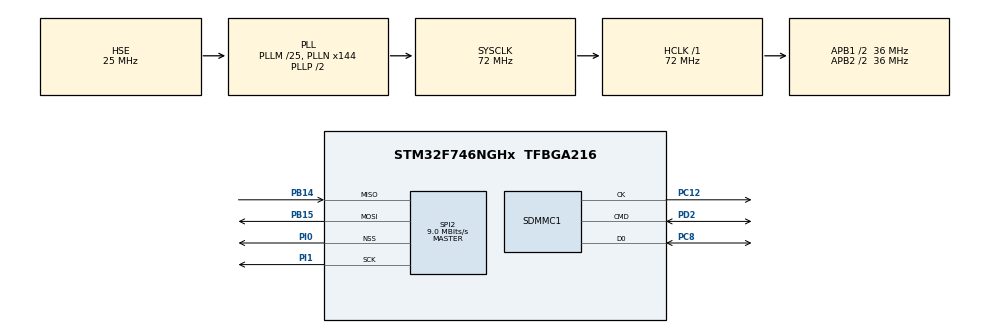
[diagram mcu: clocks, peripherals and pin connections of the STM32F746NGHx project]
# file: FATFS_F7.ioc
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CORTEX_M7.default_mode_Activation=1
Mcu.Family=STM32F7
Mcu.Name=STM32F746NGHx
Mcu.Package=TFBGA216
NVIC.PriorityGroup=NVIC_PRIORITYGROUP_4
PB14.Mode=Full_Duplex_Master
PB14.Signal=SPI2_MISO
PB15.Mode=Full_Duplex_Master
PB15.Signal=SPI2_MOSI
PC12.Mode=SD_1_bit
PC12.Signal=SDMMC1_CK
PC8.Mode=SD_1_bit
PC8.Signal=SDMMC1_D0
PD2.Mode=SD_1_bit
PD2.Signal=SDMMC1_CMD
PH0/OSC_IN.Mode=HSE-External-Clock-Source
PH0/OSC_IN.Signal=RCC_OSC_IN
PH1/OSC_OUT.Mode=HSE-External-Clock-Source
PH1/OSC_OUT.Signal=RCC_OSC_OUT
PI0.Mode=NSS_Signal_Hard_Output
PI0.Signal=SPI2_NSS
PI1.Mode=Full_Duplex_Master
PI1.Signal=SPI2_SCK
ProjectManager.HeapSize=0x200
ProjectManager.StackSize=0x400
ProjectManager.TargetToolchain=STM32CubeIDE
RCC.AHBFreq_Value=72000000
RCC.APB1CLKDivider=RCC_HCLK_DIV2
RCC.APB1Freq_Value=36000000
RCC.APB1TimFreq_Value=72000000
RCC.APB2CLKDivider=RCC_HCLK_DIV2
RCC.APB2Freq_Value=36000000
RCC.APB2TimFreq_Value=72000000
RCC.CortexFreq_Value=72000000
RCC.HCLKFreq_Value=72000000
RCC.HSE_VALUE=25000000
RCC.HSI_VALUE=16000000
RCC.LSE_VALUE=32768
RCC.PLLM=25
RCC.PLLN=144
RCC.PLLQ=3
RCC.PLLSourceVirtual=RCC_PLLSOURCE_HSE
RCC.SDMMCClockSelection=RCC_SDMMC1CLKSOURCE_CLK48
RCC.SYSCLKFreq_VALUE=72000000
RCC.SYSCLKSource=RCC_SYSCLKSOURCE_PLLCLK
RCC.USBFreq_Value=48000000
RCC.VCOOutputFreq_Value=144000000
SPI2.BaudRatePrescaler=SPI_BAUDRATEPRESCALER_4
SPI2.CalculateBaudRate=9.0 MBits/s
SPI2.DataSize=SPI_DATASIZE_8BIT
SPI2.Direction=SPI_DIRECTION_2LINES
SPI2.Mode=SPI_MODE_MASTER
SPI2.VirtualNSS=VM_NSSHARD
SPI2.VirtualType=VM_MASTER
board=custom

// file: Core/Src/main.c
/* USER CODE BEGIN Header */
/**
  ******************************************************************************
  * @file           : main.c
  * @brief          : Main program body
  ******************************************************************************
  * @attention
  *
  * Copyright (c) 2024 STMicroelectronics.
  * All rights reserved.
  *
  * This software is licensed under terms that can be found in the LICENSE file
  * in the root directory of this software component.
  * If no LICENSE file comes with this software, it is provided AS-IS.
  *
  ******************************************************************************
  */
/* USER CODE END Header */
#include "main.h"

/* USER CODE BEGIN Includes */
#include "ff.h"
#include "string.h"
/* USER CODE END Includes */

/* USER CODE BEGIN PD */
#define BUFFER_SIZE 128 * 1024
/* USER CODE END PD */

SD_HandleTypeDef hsd1;

SPI_HandleTypeDef hspi2;

/* USER CODE BEGIN PV */
FRESULT fr = FR_NOT_READY;
FATFS   SDFatFs_main; /* File system object for SD card logical drive */
FIL     MyFile;       /* File object */

char    buffer[BUFFER_SIZE]; // to store strings..
UINT    br, bw;

uint32_t total_size    = 1UL * 1024 * 1024 * 1024; // 1GB
uint32_t bytes_written = 0;

volatile uint32_t time_count = 0;
/* USER CODE END PV */

void SystemClock_Config(void);
static void MPU_Config(void);
static void MX_GPIO_Init(void);
static void MX_SDMMC1_SD_Init(void);
static void MX_SPI2_Init(void);

/* USER CODE BEGIN 0 */
int
bufsize (char *buf)
{
  int i = 0;
  while (*buf++ != '\0')
  {
    i++;
  }
  return i;
}
/* USER CODE END 0 */

int main(void)
{

  /* USER CODE BEGIN 1 */
	memset(buffer, 0xFF, BUFFER_SIZE); // Fill buffer with data
  /* USER CODE END 1 */

  /* MPU Configuration--------------------------------------------------------*/
  MPU_Config();

  /* MCU Configuration--------------------------------------------------------*/

  /* Reset of all peripherals, Initializes the Flash interface and the Systick. */
  HAL_Init();

  /* Configure the system clock */
  SystemClock_Config();

  /* Initialize all configured peripherals */
  MX_GPIO_Init();
  MX_SDMMC1_SD_Init();
  MX_SPI2_Init();
  /* USER CODE BEGIN 2 */
//  if (HAL_SD_Init(&hsd1) != HAL_OK)
//  {
//    Error_Handler();
//  }
//
//  if (HAL_SD_ConfigWideBusOperation(&hsd1, SDMMC_BUS_WIDE_4B) != HAL_OK)
//  {
//    Error_Handler();
//  }

  fr = f_mount(&SDFatFs_main, "", 1);
  fr = f_open(&MyFile, "file3.txt", FA_CREATE_ALWAYS | FA_WRITE);

  /* Writing text */
  while (bytes_written < total_size)
  {
    fr = f_write(&MyFile, buffer, bufsize(buffer), &bw);

    bytes_written += bw;
  }
  f_close(&MyFile);

  /* USER CODE END 2 */

  /* Infinite loop */
  while (1)
  {

  }
}

void SystemClock_Config(void)
{
  RCC_OscInitTypeDef RCC_OscInitStruct = {0};
  RCC_ClkInitTypeDef RCC_ClkInitStruct = {0};

  /** Configure the main internal regulator output voltage
  */
  __HAL_RCC_PWR_CLK_ENABLE();
  __HAL_PWR_VOLTAGESCALING_CONFIG(PWR_REGULATOR_VOLTAGE_SCALE3);

  /** Initializes the RCC Oscillators according to the specified parameters
  * in the RCC_OscInitTypeDef structure.
  */
  RCC_OscInitStruct.OscillatorType = RCC_OSCILLATORTYPE_HSE;
  RCC_OscInitStruct.HSEState = RCC_HSE_BYPASS;
  RCC_OscInitStruct.PLL.PLLState = RCC_PLL_ON;
  RCC_OscInitStruct.PLL.PLLSource = RCC_PLLSOURCE_HSE;
  RCC_OscInitStruct.PLL.PLLM = 25;
  RCC_OscInitStruct.PLL.PLLN = 144;
  RCC_OscInitStruct.PLL.PLLP = RCC_PLLP_DIV2;
  RCC_OscInitStruct.PLL.PLLQ = 3;
  if (HAL_RCC_OscConfig(&RCC_OscInitStruct) != HAL_OK)
  {
    Error_Handler();
  }

  /** Initializes the CPU, AHB and APB buses clocks
  */
  RCC_ClkInitStruct.ClockType = RCC_CLOCKTYPE_HCLK|RCC_CLOCKTYPE_SYSCLK
                              |RCC_CLOCKTYPE_PCLK1|RCC_CLOCKTYPE_PCLK2;
  RCC_ClkInitStruct.SYSCLKSource = RCC_SYSCLKSOURCE_PLLCLK;
  RCC_ClkInitStruct.AHBCLKDivider = RCC_SYSCLK_DIV1;
  RCC_ClkInitStruct.APB1CLKDivider = RCC_HCLK_DIV2;
  RCC_ClkInitStruct.APB2CLKDivider = RCC_HCLK_DIV2;

  if (HAL_RCC_ClockConfig(&RCC_ClkInitStruct, FLASH_LATENCY_2) != HAL_OK)
  {
    Error_Handler();
  }
}

static void MX_SDMMC1_SD_Init(void)
{

  hsd1.Instance = SDMMC1;
  hsd1.Init.ClockEdge = SDMMC_CLOCK_EDGE_RISING;
  hsd1.Init.ClockBypass = SDMMC_CLOCK_BYPASS_DISABLE;
  hsd1.Init.ClockPowerSave = SDMMC_CLOCK_POWER_SAVE_DISABLE;
  hsd1.Init.BusWide = SDMMC_BUS_WIDE_1B;
  hsd1.Init.HardwareFlowControl = SDMMC_HARDWARE_FLOW_CONTROL_DISABLE;
  hsd1.Init.ClockDiv = 0;
  if (HAL_SD_Init(&hsd1) != HAL_OK)
  {
    Error_Handler();
  }

}

static void MX_SPI2_Init(void)
{

  /* SPI2 parameter configuration*/
  hspi2.Instance = SPI2;
  hspi2.Init.Mode = SPI_MODE_MASTER;
  hspi2.Init.Direction = SPI_DIRECTION_2LINES;
  hspi2.Init.DataSize = SPI_DATASIZE_8BIT;
  hspi2.Init.CLKPolarity = SPI_POLARITY_LOW;
  hspi2.Init.CLKPhase = SPI_PHASE_1EDGE;
  hspi2.Init.NSS = SPI_NSS_HARD_OUTPUT;
  hspi2.Init.BaudRatePrescaler = SPI_BAUDRATEPRESCALER_4;
  hspi2.Init.FirstBit = SPI_FIRSTBIT_MSB;
  hspi2.Init.TIMode = SPI_TIMODE_DISABLE;
  hspi2.Init.CRCCalculation = SPI_CRCCALCULATION_DISABLE;
  hspi2.Init.CRCPolynomial = 7;
  hspi2.Init.CRCLength = SPI_CRC_LENGTH_DATASIZE;
  hspi2.Init.NSSPMode = SPI_NSS_PULSE_ENABLE;
  if (HAL_SPI_Init(&hspi2) != HAL_OK)
  {
    Error_Handler();
  }

}

static void MX_GPIO_Init(void)
{

  /* GPIO Ports Clock Enable */
  __HAL_RCC_GPIOC_CLK_ENABLE();
  __HAL_RCC_GPIOD_CLK_ENABLE();
  __HAL_RCC_GPIOI_CLK_ENABLE();
  __HAL_RCC_GPIOH_CLK_ENABLE();
  __HAL_RCC_GPIOB_CLK_ENABLE();

}

 /* MPU Configuration */

void MPU_Config(void)
{
  MPU_Region_InitTypeDef MPU_InitStruct = {0};

  /* Disables the MPU */
  HAL_MPU_Disable();

  /** Initializes and configures the Region and the memory to be protected
  */
  MPU_InitStruct.Enable = MPU_REGION_ENABLE;
  MPU_InitStruct.Number = MPU_REGION_NUMBER0;
  MPU_InitStruct.BaseAddress = 0x0;
  MPU_InitStruct.Size = MPU_REGION_SIZE_4GB;
  MPU_InitStruct.SubRegionDisable = 0x87;
  MPU_InitStruct.TypeExtField = MPU_TEX_LEVEL0;
  MPU_InitStruct.AccessPermission = MPU_REGION_NO_ACCESS;
  MPU_InitStruct.DisableExec = MPU_INSTRUCTION_ACCESS_DISABLE;
  MPU_InitStruct.IsShareable = MPU_ACCESS_SHAREABLE;
  MPU_InitStruct.IsCacheable = MPU_ACCESS_NOT_CACHEABLE;
  MPU_InitStruct.IsBufferable = MPU_ACCESS_NOT_BUFFERABLE;

  HAL_MPU_ConfigRegion(&MPU_InitStruct);
  /* Enables the MPU */
  HAL_MPU_Enable(MPU_PRIVILEGED_DEFAULT);

}

void Error_Handler(void)
{
  __disable_irq();
  while (1)
  {
  }
}
